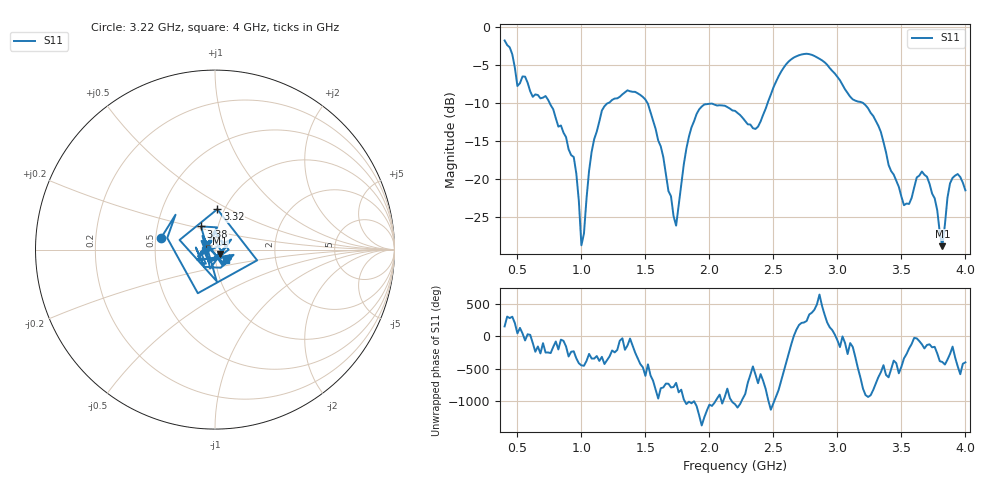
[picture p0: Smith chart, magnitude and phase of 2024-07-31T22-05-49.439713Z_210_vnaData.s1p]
!Created with skrf (http://scikit-rf.org).
# Hz S RI R 50.0
!freq ReS11 ImS11
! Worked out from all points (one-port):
!   181 points, 400 MHz to 4 GHz, reference 50 ohm
!   lowest |S11| = -28.8 dB at 3.82 GHz (marker M1), VSWR 1.08, Z = 52.9 - j2.35 ohm
!   |S11| at or under -10 dB: 753.3 MHz to 1.203 GHz (449.8 MHz wide, 46 % of centre); 1.518 GHz to 2.454 GHz (936.2 MHz wide, 47.1 % of centre); 3.204 GHz to end of sweep
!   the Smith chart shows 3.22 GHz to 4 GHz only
!   S11 on the Smith chart (normalised r, x): 3.22 GHz: 0.53, +0.08; 3.32 GHz: 0.93, +0.44; 3.38 GHz: 0.83, +0.22; 4 GHz: 1.12, -0.13
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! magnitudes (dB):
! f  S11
! 400 MHz  -1.7
! 500 MHz  -7.7
! 720 MHz  -9.0
! 860 MHz  -13.8
! 940 MHz  -17.0
! 980 MHz  -22.8
! 1 GHz  -28.7
! 1.1 GHz  -14.7
! 1.18 GHz  -10.4
! 1.3 GHz  -9.1
! 1.52 GHz  -10.1
! 1.74 GHz  -26.1
! 1.76 GHz  -23.4
! 1.84 GHz  -14.4
! 1.92 GHz  -10.8
! 2.2 GHz  -11.0
! 2.38 GHz  -13.1
! 2.66 GHz  -4.0
! 2.88 GHz  -4.3
! 3.1 GHz  -9.1
! 3.22 GHz  -10.2
! 3.32 GHz  -12.9
! 3.38 GHz  -16.4
! 3.56 GHz  -23.2
! 3.7 GHz  -19.7
! 3.82 GHz  -28.8
! 3.88 GHz  -20.5
! 4 GHz  -21.4
